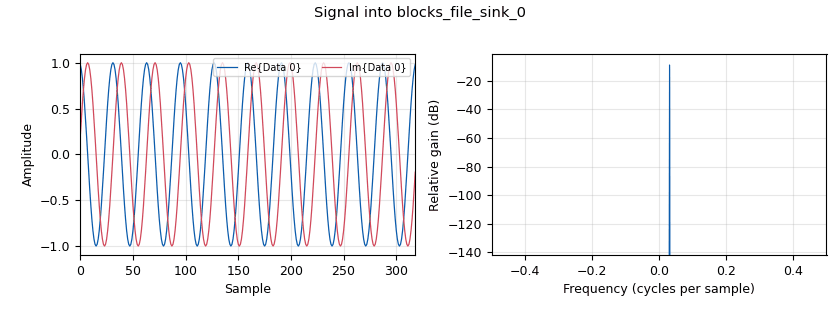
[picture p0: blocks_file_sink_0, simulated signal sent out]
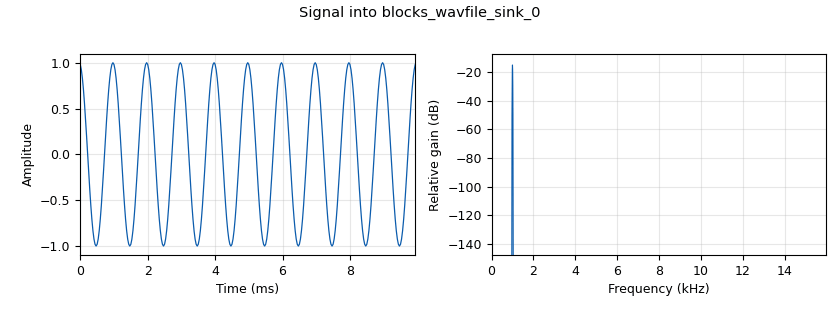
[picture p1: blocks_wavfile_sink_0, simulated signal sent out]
options:
  parameters:
    author: vivelpanel
    generate_options: qt_gui
    id: test_file_sink
    output_language: python
    title: Not titled yet
  states: {}

blocks:
- name: samp_rate
  id: variable
  parameters:
    value: '32000'
  states: {}
- name: analog_sig_source_x_0
  id: analog_sig_source_x
  parameters:
    amp: '1'
    freq: '1000'
    offset: '0'
    phase: '0'
    samp_rate: samp_rate
    type: complex
    waveform: analog.GR_COS_WAVE
  states: {}
- name: blocks_complex_to_real_0
  id: blocks_complex_to_real
  parameters: {}
  states: {}
- name: blocks_file_sink_0
  id: blocks_file_sink
  parameters:
    file: /Users/vivelpanel/Desktop/SRT UROP 2022/SRT Flowgraphs/Testing Output Files/testbinary
    type: complex
  states: {}
- name: blocks_file_source_0
  id: blocks_file_source
  parameters:
    comment: To test
    file: /Users/vivelpanel/Desktop/SRT UROP 2022/SRT Flowgraphs/Testing Output Files/testbinary
    repeat: 'True'
    type: complex
  states: {state: disabled}
- name: blocks_throttle_0
  id: blocks_throttle
  parameters:
    samples_per_second: samp_rate
    type: complex
  states: {}
- name: blocks_wavfile_sink_0
  id: blocks_wavfile_sink
  parameters:
    bits_per_sample1: FORMAT_PCM_16
    file: /Users/vivelpanel/Desktop/SRT UROP 2022/SRT Flowgraphs/Testing Output Files/testwav.wav
    format: FORMAT_WAV
    samp_rate: samp_rate
  states: {}
- name: note_0
  id: note
  parameters:
    note: This works!
  states: {}
- name: qtgui_sink_x_0
  id: qtgui_sink_x
  parameters:
    bw: samp_rate
    fc: '0'
    fftsize: '1024'
    name: '"Before Saving"'
    type: complex
  states: {state: disabled}
- name: qtgui_sink_x_1
  id: qtgui_sink_x
  parameters:
    bw: samp_rate
    fc: '0'
    fftsize: '1024'
    name: '"After Saving"'
    type: complex
  states: {state: disabled}

connections:
- [analog_sig_source_x_0, '0', blocks_throttle_0, '0']
- [blocks_complex_to_real_0, '0', blocks_wavfile_sink_0, '0']
- [blocks_file_source_0, '0', qtgui_sink_x_1, '0']
- [blocks_throttle_0, '0', blocks_complex_to_real_0, '0']
- [blocks_throttle_0, '0', blocks_file_sink_0, '0']
- [blocks_throttle_0, '0', qtgui_sink_x_0, '0']

metadata:
  file_format: 1
